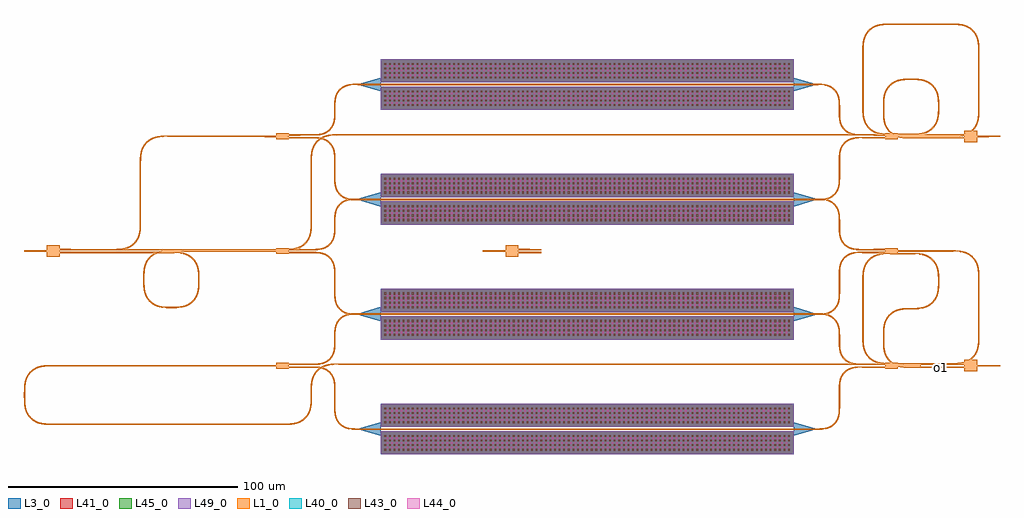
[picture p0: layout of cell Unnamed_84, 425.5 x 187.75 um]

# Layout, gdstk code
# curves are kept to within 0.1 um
from math import pi, radians
import gdstk
lib = gdstk.Library(unit=1e-6, precision=1e-09)
def R(c, l, rs):  # rectangles x0, y0, x1, y1
    for r in rs: c.add(gdstk.rectangle(r[:2], r[2:], *l))
def P(c, l, *ps):  # polygons
    for p in ps: c.add(gdstk.Polygon(p, *l))
L1_0 = (1, 0)
L3_0 = (3, 0)
L40_0 = (40, 0)
L41_0 = (41, 0)
L43_0 = (43, 0)
L44_0 = (44, 0)
L45_0 = (45, 0)
L49_0 = (49, 0)

mmi_gdsfactorypcomponent = lib.new_cell('mmi_gdsfactorypcomponentspmmispmmi_I1_O2_WNone_WT1_LT10_571b94f3')
P(mmi_gdsfactorypcomponent, L1_0, [(0,-2.5),(0,-0.5),(-10,-0.25),(-10,0.25),(0,0.5),(0,2.5),(5.5,2.5),(5.5,1.125),(15.5,0.875),(15.5,0.375),(5.5,0.125),(5.5,-0.125),(15.5,-0.375),(15.5,-0.875),(5.5,-1.125),(5.5,-2.5)])

mmi1x2_gdsfactorypcompon = lib.new_cell('mmi1x2_gdsfactorypcomponentspmmispmmi1x2_WNone_WT1_LT10_1f097353')
P(mmi1x2_gdsfactorypcompon, L1_0, [(0,-1.25),(0,-0.5),(-10,-0.25),(-10,0.25),(0,0.5),(0,1.25),(5.5,1.25),(5.5,1.125),(15.5,0.875),(15.5,0.375),(5.5,0.125),(5.5,-0.125),(15.5,-0.375),(15.5,-0.875),(5.5,-1.125),(5.5,-1.25)])

bend_euler_gdsfactorypco = lib.new_cell('bend_euler_gdsfactorypcomponentspbendspbend_euler_RNone_387600b2')
P(bend_euler_gdsfactorypco, L1_0, [(0,-0.25),(0,0.25),(2.881,0.353),(3.952,0.52),(4.99,0.806),(6.431,1.505),(7.575,2.425),(8.495,3.569),(9.194,5.01),(9.48,6.048),(9.647,7.119),(9.75,10),(10.25,10),(10.158,7.205),(9.797,5.254),(9.457,4.312),(9.066,3.545),(8.5,2.715),(7.928,2.072),(7.285,1.5),(6.455,0.934),(5.688,0.543),(4.746,0.203),(2.795,-0.158)])

straight_gdsfactorypcomp = lib.new_cell('straight_gdsfactorypcomponentspwaveguidespstraight_L2_N_815d3d03')
R(straight_gdsfactorypcomp, L1_0, [(0,-0.25,2,0.25)])

c_straight_gdsfactorypcomp = lib.new_cell('straight_gdsfactorypcomponentspwaveguidespstraight_L7_N_ecd9aecc')
R(c_straight_gdsfactorypcomp, L1_0, [(0,-0.25,7,0.25)])

c_straight_gdsfactorypcomp_ = lib.new_cell('straight_gdsfactorypcomponentspwaveguidespstraight_L180_c6573083')
R(c_straight_gdsfactorypcomp_, L1_0, [(0,-0.25,180,0.25)])

taper_strip_to_ridge_gds = lib.new_cell('taper_strip_to_ridge_gdsfactorypcomponentsptapersptaper_947a0bf0')
R(taper_strip_to_ridge_gds, L1_0, [(0,-0.25,10,0.25)])
P(taper_strip_to_ridge_gds, L3_0, [(10,-3),(0,-0.075),(0,0.075),(10,3)])

compass_gdsfactorypcompo = lib.new_cell('compass_gdsfactorypcomponentspshapespcompass_S180_10_LS_ac7757bf')
R(compass_gdsfactorypcompo, L3_0, [(-90,-5,90,5)])

c_compass_gdsfactorypcompo = lib.new_cell('compass_gdsfactorypcomponentspshapespcompass_S180_10_LM_4e0af846')
R(c_compass_gdsfactorypcompo, L41_0, [(-90,-5,90,5)])

c_compass_gdsfactorypcompo_ = lib.new_cell('compass_gdsfactorypcomponentspshapespcompass_S180_10_LM_ffb56291')
R(c_compass_gdsfactorypcompo_, L45_0, [(-90,-5,90,5)])

c_compass_gdsfactorypcompo__ = lib.new_cell('compass_gdsfactorypcomponentspshapespcompass_S180_10_LM_d431091e')
R(c_compass_gdsfactorypcompo__, L49_0, [(-90,-5,90,5)])

via_gdsfactorypcomponent = lib.new_cell('via_gdsfactorypcomponentspviaspvia_S0p7_0p7_E1_LVIAC_BL_572539c8')
R(via_gdsfactorypcomponent, L40_0, [(-0.35,-0.35,0.35,0.35)])

c_via_gdsfactorypcomponent = lib.new_cell('via_gdsfactorypcomponentspviaspvia_S0p7_0p7_E2_LVIA1_BL_efa29aa3')
R(c_via_gdsfactorypcomponent, L44_0, [(-0.35,-0.35,0.35,0.35)])

c_via_gdsfactorypcomponent_ = lib.new_cell('via_gdsfactorypcomponentspviaspvia_S0p7_0p7_E1_LVIA2_BL_c51b5ebb')
R(c_via_gdsfactorypcomponent_, L43_0, [(-0.35,-0.35,0.35,0.35)])

via_stack_gdsfactorypcom = lib.new_cell('via_stack_gdsfactorypcomponentspviaspvia_stack_S180_10__ac52c1b0')
via_stack_gdsfactorypcom.add(gdstk.Reference(compass_gdsfactorypcompo, (0,0)))
via_stack_gdsfactorypcom.add(gdstk.Reference(c_compass_gdsfactorypcompo, (0,0)))
via_stack_gdsfactorypcom.add(gdstk.Reference(c_compass_gdsfactorypcompo_, (0,0)))
via_stack_gdsfactorypcom.add(gdstk.Reference(c_compass_gdsfactorypcompo__, (0,0)))
r = gdstk.Reference(via_gdsfactorypcomponent, (-88,-3)); r.repetition = gdstk.Repetition(89, 4, v1=(2,0), v2=(0,2)); via_stack_gdsfactorypcom.add(r)
r = gdstk.Reference(c_via_gdsfactorypcomponent, (-87,-2)); r.repetition = gdstk.Repetition(88, 3, v1=(2,0), v2=(0,2)); via_stack_gdsfactorypcom.add(r)
r = gdstk.Reference(c_via_gdsfactorypcomponent_, (-88,-3)); r.repetition = gdstk.Repetition(89, 4, v1=(2,0), v2=(0,2)); via_stack_gdsfactorypcom.add(r)

straight_pin_gdsfactoryp = lib.new_cell('straight_pin_gdsfactorypcomponentspwaveguidespstraight__77e81821')
straight_pin_gdsfactoryp.add(gdstk.Reference(c_straight_gdsfactorypcomp_, (0,0)))
straight_pin_gdsfactoryp.add(gdstk.Reference(taper_strip_to_ridge_gds, (-10,0)))
straight_pin_gdsfactoryp.add(gdstk.Reference(taper_strip_to_ridge_gds, (190,0), rotation=pi))
straight_pin_gdsfactoryp.add(gdstk.Reference(via_stack_gdsfactorypcom, (90,6)))
straight_pin_gdsfactoryp.add(gdstk.Reference(via_stack_gdsfactorypcom, (90,-6)))

mzi_gdsfactorypcomponent = lib.new_cell('mzi_gdsfactorypcomponentspmzispmzi_DL10_LY2_LX200_Bbend_d03ef107')
mzi_gdsfactorypcomponent.add(gdstk.Reference(mmi1x2_gdsfactorypcompon, (0,0)))
mzi_gdsfactorypcomponent.add(gdstk.Reference(bend_euler_gdsfactorypco, (15.5,-0.625), x_reflection=True))
mzi_gdsfactorypcomponent.add(gdstk.Reference(bend_euler_gdsfactorypco, (25.5,-17.625), rotation=3*pi/2))
mzi_gdsfactorypcomponent.add(gdstk.Reference(bend_euler_gdsfactorypco, (15.5,0.625)))
mzi_gdsfactorypcomponent.add(gdstk.Reference(bend_euler_gdsfactorypco, (35.5,22.625), rotation=pi))
mzi_gdsfactorypcomponent.add(gdstk.Reference(bend_euler_gdsfactorypco, (245.5,12.625), rotation=pi/2))
mzi_gdsfactorypcomponent.add(gdstk.Reference(bend_euler_gdsfactorypco, (245.5,10.625), rotation=3*pi/2))
mzi_gdsfactorypcomponent.add(gdstk.Reference(bend_euler_gdsfactorypco, (235.5,-27.625)))
mzi_gdsfactorypcomponent.add(gdstk.Reference(bend_euler_gdsfactorypco, (255.5,-0.625), rotation=pi))
mzi_gdsfactorypcomponent.add(gdstk.Reference(straight_gdsfactorypcomp, (25.5,10.625), rotation=pi/2))
mzi_gdsfactorypcomponent.add(gdstk.Reference(c_straight_gdsfactorypcomp, (25.5,-10.625), rotation=3*pi/2))
mzi_gdsfactorypcomponent.add(gdstk.Reference(straight_pin_gdsfactoryp, (45.5,22.625)))
mzi_gdsfactorypcomponent.add(gdstk.Reference(straight_pin_gdsfactoryp, (45.5,-27.625)))
mzi_gdsfactorypcomponent.add(gdstk.Reference(mmi1x2_gdsfactorypcompon, (271,0), rotation=pi, x_reflection=True))
mzi_gdsfactorypcomponent.add(gdstk.Reference(straight_gdsfactorypcomp, (245.5,10.625), rotation=pi/2))
mzi_gdsfactorypcomponent.add(gdstk.Reference(c_straight_gdsfactorypcomp, (245.5,-17.625), rotation=pi/2))

c_mmi_gdsfactorypcomponent = lib.new_cell('mmi_gdsfactorypcomponentspmmispmmi_I2_O1_WNone_WT1_LT10_62ac434d')
P(c_mmi_gdsfactorypcomponent, L1_0, [(0,-2.5),(0,-1.125),(-10,-0.875),(-10,-0.375),(0,-0.125),(0,0.125),(-10,0.375),(-10,0.875),(0,1.125),(0,2.5),(5.5,2.5),(5.5,0.5),(15.5,0.25),(15.5,-0.25),(5.5,-0.5),(5.5,-2.5)])

c_bend_euler_gdsfactorypco = lib.new_cell('bend_euler_gdsfactorypcomponentspbendspbend_euler_R12_A_9e9e73f9')
P(c_bend_euler_gdsfactorypco, L1_0, [(0,-0.25),(0,0.25),(1.893,0.27),(3.499,0.378),(4.815,0.589),(5.963,0.906),(6.826,1.256),(7.653,1.707),(8.422,2.249),(9.125,2.875),(9.751,3.578),(10.293,4.347),(10.744,5.174),(11.094,6.037),(11.411,7.185),(11.622,8.501),(11.73,10.107),(11.75,12),(12.25,12),(12.147,8.72),(11.981,7.488),(11.733,6.406),(11.369,5.351),(10.865,4.328),(10.317,3.493),(9.579,2.623),(8.733,1.857),(7.795,1.208),(6.78,0.686),(5.728,0.306),(4.512,0.019),(3.28,-0.147)])

c_straight_gdsfactorypcomp__ = lib.new_cell('straight_gdsfactorypcomponentspwaveguidespstraight_L13p_00faf493')
R(c_straight_gdsfactorypcomp__, L1_0, [(0,-0.25,13.25,0.25)])

c_straight_gdsfactorypcomp___ = lib.new_cell('straight_gdsfactorypcomponentspwaveguidespstraight_L25p_6655cec0')
R(c_straight_gdsfactorypcomp___, L1_0, [(0,-0.25,25.375,0.25)])

c_straight_gdsfactorypcomp____ = lib.new_cell('straight_gdsfactorypcomponentspwaveguidespstraight_L37p_c0c91d78')
R(c_straight_gdsfactorypcomp____, L1_0, [(0,-0.25,37.25,0.25)])

c_straight_gdsfactorypcomp_____ = lib.new_cell('straight_gdsfactorypcomponentspwaveguidespstraight_L38p_0d17dc6c')
R(c_straight_gdsfactorypcomp_____, L1_0, [(0,-0.25,38.75,0.25)])

c_straight_gdsfactorypcomp______ = lib.new_cell('straight_gdsfactorypcomponentspwaveguidespstraight_L0p6_1afb0928')
R(c_straight_gdsfactorypcomp______, L1_0, [(0,-0.25,0.625,0.25)])

c_straight_gdsfactorypcomp_______ = lib.new_cell('straight_gdsfactorypcomponentspwaveguidespstraight_L35p_990706b9')
R(c_straight_gdsfactorypcomp_______, L1_0, [(0,-0.25,35.75,0.25)])

c_straight_gdsfactorypcomp________ = lib.new_cell('straight_gdsfactorypcomponentspwaveguidespstraight_L87p_4ff1f07e')
R(c_straight_gdsfactorypcomp________, L1_0, [(0,-0.25,87.75,0.25)])

c_straight_gdsfactorypcomp_________ = lib.new_cell('straight_gdsfactorypcomponentspwaveguidespstraight_L26__3da9e238')
R(c_straight_gdsfactorypcomp_________, L1_0, [(0,-0.25,26,0.25)])

c_straight_gdsfactorypcomp__________ = lib.new_cell('straight_gdsfactorypcomponentspwaveguidespstraight_L262_e4916dc4')
R(c_straight_gdsfactorypcomp__________, L1_0, [(0,-0.25,262.75,0.25)])

c_straight_gdsfactorypcomp___________ = lib.new_cell('straight_gdsfactorypcomponentspwaveguidespstraight_L87p_bc48d882')
R(c_straight_gdsfactorypcomp___________, L1_0, [(0,-0.25,87.751,0.25)])

c_straight_gdsfactorypcomp____________ = lib.new_cell('straight_gdsfactorypcomponentspwaveguidespstraight_L1p5_27783c1e')
R(c_straight_gdsfactorypcomp____________, L1_0, [(0,-0.25,1.5,0.25)])

c_straight_gdsfactorypcomp_____________ = lib.new_cell('straight_gdsfactorypcomponentspwaveguidespstraight_L101_9195aa21')
R(c_straight_gdsfactorypcomp_____________, L1_0, [(0,-0.25,101.001,0.25)])

c_straight_gdsfactorypcomp______________ = lib.new_cell('straight_gdsfactorypcomponentspwaveguidespstraight_L2p1_68c14cfc')
R(c_straight_gdsfactorypcomp______________, L1_0, [(0,-0.25,2.125,0.25)])

c_straight_gdsfactorypcomp_______________ = lib.new_cell('straight_gdsfactorypcomponentspwaveguidespstraight_L24p_19e40505')
R(c_straight_gdsfactorypcomp_______________, L1_0, [(0,-0.25,24.875,0.25)])

c_straight_gdsfactorypcomp________________ = lib.new_cell('straight_gdsfactorypcomponentspwaveguidespstraight_L26p_8ea0874e')
R(c_straight_gdsfactorypcomp________________, L1_0, [(0,-0.25,26.501,0.25)])

c_straight_gdsfactorypcomp_________________ = lib.new_cell('straight_gdsfactorypcomponentspwaveguidespstraight_L24__0335c6ec')
R(c_straight_gdsfactorypcomp_________________, L1_0, [(0,-0.25,24,0.25)])

c_straight_gdsfactorypcomp__________________ = lib.new_cell('straight_gdsfactorypcomponentspwaveguidespstraight_L9p0_4dcf76f5')
R(c_straight_gdsfactorypcomp__________________, L1_0, [(0,-0.25,9.001,0.25)])

c_straight_gdsfactorypcomp___________________ = lib.new_cell('straight_gdsfactorypcomponentspwaveguidespstraight_L25p_21326474')
R(c_straight_gdsfactorypcomp___________________, L1_0, [(0,-0.25,25.125,0.25)])

unnamed_84 = lib.new_cell('Unnamed_84')
P(unnamed_84, L1_0, [(390,-50.875),(389.75,-50.625),(389.938,-50.437),(389.975,-50.437),(389.785,-50.625),(389.975,-50.625),(389.975,-50.437),(389.938,-50.437),(390,-50.375)])
unnamed_84.add(gdstk.Reference(mmi_gdsfactorypcomponent, (0,0)))
unnamed_84.add(gdstk.Reference(mmi_gdsfactorypcomponent, (200,0)))
unnamed_84.add(gdstk.Reference(mzi_gdsfactorypcomponent, (100,50)))
unnamed_84.add(gdstk.Reference(mzi_gdsfactorypcomponent, (100,0)))
unnamed_84.add(gdstk.Reference(mzi_gdsfactorypcomponent, (100,-50)))
unnamed_84.add(gdstk.Reference(c_mmi_gdsfactorypcomponent, (400,50)))
unnamed_84.add(gdstk.Reference(c_mmi_gdsfactorypcomponent, (400,-50)))
unnamed_84.add(gdstk.Reference(c_bend_euler_gdsfactorypco, (40.75,12.625), rotation=3*pi/2, x_reflection=True))
unnamed_84.add(gdstk.Reference(c_straight_gdsfactorypcomp__, (15.5,0.625)))
unnamed_84.add(gdstk.Reference(c_bend_euler_gdsfactorypco, (52.75,50), rotation=pi))
unnamed_84.add(gdstk.Reference(c_straight_gdsfactorypcomp___, (40.75,12.625), rotation=pi/2))
unnamed_84.add(gdstk.Reference(c_straight_gdsfactorypcomp____, (52.75,50)))
unnamed_84.add(gdstk.Reference(c_bend_euler_gdsfactorypco, (66.25,-12.625), rotation=pi/2))
unnamed_84.add(gdstk.Reference(c_straight_gdsfactorypcomp_____, (15.5,-0.625)))
unnamed_84.add(gdstk.Reference(c_bend_euler_gdsfactorypco, (54.25,-24.625)))
unnamed_84.add(gdstk.Reference(c_bend_euler_gdsfactorypco, (42.25,-12.625), rotation=3*pi/2))
unnamed_84.add(gdstk.Reference(c_bend_euler_gdsfactorypco, (54.25,0), rotation=pi))
unnamed_84.add(gdstk.Reference(c_straight_gdsfactorypcomp______, (42.25,-12.625), rotation=pi/2))
unnamed_84.add(gdstk.Reference(c_straight_gdsfactorypcomp_______, (54.25,0)))
unnamed_84.add(gdstk.Reference(c_bend_euler_gdsfactorypco, (115.25,12.625), rotation=3*pi/2, x_reflection=True))
unnamed_84.add(gdstk.Reference(c_straight_gdsfactorypcomp________, (15.5,0.625)))
unnamed_84.add(gdstk.Reference(c_bend_euler_gdsfactorypco, (127.25,50.625), rotation=pi))
unnamed_84.add(gdstk.Reference(c_straight_gdsfactorypcomp_________, (115.25,12.625), rotation=pi/2))
unnamed_84.add(gdstk.Reference(c_straight_gdsfactorypcomp__________, (127.25,50.625)))
unnamed_84.add(gdstk.Reference(c_bend_euler_gdsfactorypco, (-9.751,-62), rotation=pi/2, x_reflection=True))
unnamed_84.add(gdstk.Reference(c_straight_gdsfactorypcomp___________, (90,-50), rotation=pi))
unnamed_84.add(gdstk.Reference(c_bend_euler_gdsfactorypco, (2.249,-75.5), rotation=pi, x_reflection=True))
unnamed_84.add(gdstk.Reference(c_straight_gdsfactorypcomp____________, (-9.751,-62), rotation=3*pi/2))
unnamed_84.add(gdstk.Reference(c_bend_euler_gdsfactorypco, (115.25,-63.5), rotation=3*pi/2, x_reflection=True))
unnamed_84.add(gdstk.Reference(c_straight_gdsfactorypcomp_____________, (2.249,-75.5)))
unnamed_84.add(gdstk.Reference(c_bend_euler_gdsfactorypco, (127.25,-49.375), rotation=pi))
unnamed_84.add(gdstk.Reference(c_straight_gdsfactorypcomp______________, (115.25,-63.5), rotation=pi/2))
unnamed_84.add(gdstk.Reference(c_straight_gdsfactorypcomp__________, (127.25,-49.375)))
unnamed_84.add(gdstk.Reference(c_bend_euler_gdsfactorypco, (406.25,62), rotation=3*pi/2, x_reflection=True))
unnamed_84.add(gdstk.Reference(c_straight_gdsfactorypcomp__, (381,50)))
unnamed_84.add(gdstk.Reference(c_bend_euler_gdsfactorypco, (394.25,98.875), x_reflection=True))
unnamed_84.add(gdstk.Reference(c_straight_gdsfactorypcomp_______________, (406.25,62), rotation=pi/2))
unnamed_84.add(gdstk.Reference(c_bend_euler_gdsfactorypco, (355.749,86.875), rotation=pi/2, x_reflection=True))
unnamed_84.add(gdstk.Reference(c_straight_gdsfactorypcomp________________, (394.25,98.875), rotation=pi))
unnamed_84.add(gdstk.Reference(c_bend_euler_gdsfactorypco, (367.749,50.875), rotation=pi, x_reflection=True))
unnamed_84.add(gdstk.Reference(c_straight_gdsfactorypcomp_________________, (355.749,86.875), rotation=3*pi/2))
unnamed_84.add(gdstk.Reference(c_bend_euler_gdsfactorypco, (388.75,62.875), rotation=3*pi/2, x_reflection=True))
unnamed_84.add(gdstk.Reference(c_straight_gdsfactorypcomp__________________, (367.749,50.875)))
unnamed_84.add(gdstk.Reference(c_bend_euler_gdsfactorypco, (376.75,74.875), x_reflection=True))
unnamed_84.add(gdstk.Reference(c_bend_euler_gdsfactorypco, (364.75,62.875), rotation=pi/2, x_reflection=True))
unnamed_84.add(gdstk.Reference(c_bend_euler_gdsfactorypco, (376.75,49.375), rotation=pi, x_reflection=True))
unnamed_84.add(gdstk.Reference(c_straight_gdsfactorypcomp____________, (364.75,62.875), rotation=3*pi/2))
unnamed_84.add(gdstk.Reference(c_straight_gdsfactorypcomp__, (376.75,49.375)))
unnamed_84.add(gdstk.Reference(c_bend_euler_gdsfactorypco, (406.25,-12), rotation=pi/2))
unnamed_84.add(gdstk.Reference(c_straight_gdsfactorypcomp__, (381,0)))
unnamed_84.add(gdstk.Reference(c_bend_euler_gdsfactorypco, (394.25,-49.125)))
unnamed_84.add(gdstk.Reference(c_straight_gdsfactorypcomp___________________, (406.25,-12), rotation=3*pi/2))
unnamed_84.add(gdstk.Reference(c_bend_euler_gdsfactorypco, (355.749,-37.125), rotation=3*pi/2))
unnamed_84.add(gdstk.Reference(c_straight_gdsfactorypcomp________________, (394.25,-49.125), rotation=pi))
unnamed_84.add(gdstk.Reference(c_bend_euler_gdsfactorypco, (367.749,-1.125), rotation=pi))
unnamed_84.add(gdstk.Reference(c_straight_gdsfactorypcomp_________________, (355.749,-37.125), rotation=pi/2))
unnamed_84.add(gdstk.Reference(c_bend_euler_gdsfactorypco, (388.75,-13.125), rotation=pi/2))
unnamed_84.add(gdstk.Reference(c_straight_gdsfactorypcomp__________________, (367.749,-1.125)))
unnamed_84.add(gdstk.Reference(c_bend_euler_gdsfactorypco, (376.75,-25.125)))
unnamed_84.add(gdstk.Reference(c_bend_euler_gdsfactorypco, (364.75,-37.125), rotation=pi/2, x_reflection=True))
unnamed_84.add(gdstk.Reference(c_bend_euler_gdsfactorypco, (376.75,-50.625), rotation=pi, x_reflection=True))
unnamed_84.add(gdstk.Reference(c_straight_gdsfactorypcomp____________, (364.75,-37.125), rotation=3*pi/2))
unnamed_84.add(gdstk.Reference(c_straight_gdsfactorypcomp__, (376.75,-50.625)))
unnamed_84.add(gdstk.Label('o1', (390,-50.625), layer=1, texttype=0))

lib.write_gds('Unnamed_84.gds')
